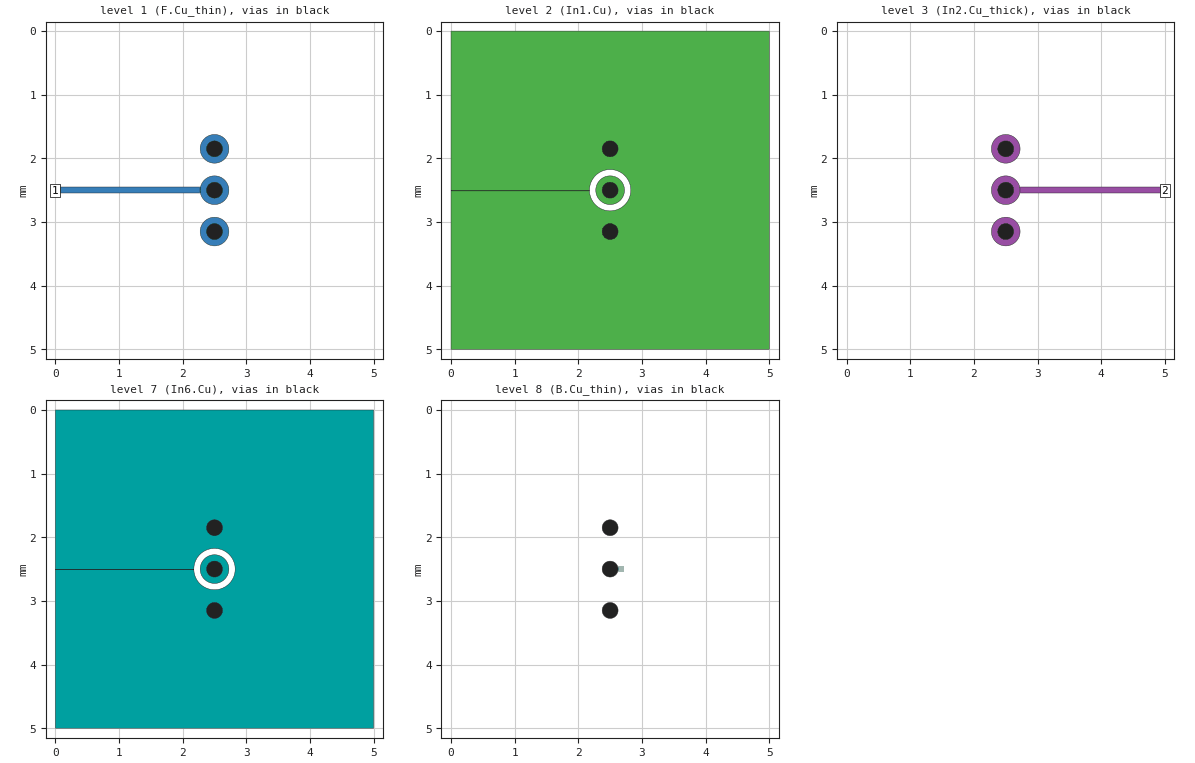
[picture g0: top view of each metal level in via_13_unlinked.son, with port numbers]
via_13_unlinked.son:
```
FTYP SONPROJ 19 ! Sonnet Project File
VER 18.52
HEADER
LIC antikernel2.1.51176
DAT 02/26/2022 12:09:59
BUILT_BY_CREATED xgeom 18.52 11/18/2021 20:28:07
BUILT_BY_SAVED sonnet 18.52
MDATE 02/26/2022 12:09:59
HDATE 02/26/2022 12:09:59
END HEADER
DIM
ANG DEG
CAP PF
CON /OH
FREQ GHZ
IND NH
LNG MM
RES OH
END DIM
CONTROL
VARSWP
OPTIONS  -dj
SPEED 0
CACHE_ABS 2
Q_ACC N
END CONTROL
GEO
SYM
DRP1 LEFT LINK
POLY 357 1
0
DRP1 RIGHT LINK
POLY 361 1
0
TMET "Free Space" 0 FREESPACE 376.7303136 0 0 0
BMET "Free Space" 0 FREESPACE 376.7303136 0 0 0
MET "Copper_1oz_thin" 1 NOR 58000000 0.5 0.035 
MET "Copper_1oz_thick" 2 TMM 58000000 0.5 0.035 2
MET "Copper_1oz_thick_down" 3 TMM 58000000 0.5 0.035 2 CDVY TDWN
MET "Copper_0.5oz_thin" 4 NOR 58000000 0.5 0.017 
MET "Copper_0.5oz_thick" 12 TMM 58000000 0.5 0.017 2
MET "Copper_0.5oz_thick_down" 5 TMM 58000000 0.5 0.017 2 CDVY TDWN
BOX 10 5 5 1000 1000 20 0
      5 1 1 0 0 0 0 "Air"
      0.04 3.5 1 0.025 0 0 0 "Soldermask"
      0.075 3.9 1 0.008 0 0 0 "TU-872_SLK"
      0.1 3.9 1 0.008 0 0 0 "TU-872_SLK"
      0.143 3.9 1 0.008 0 0 0 "TU-872_SLK"
      0.7 4.49 1 0.016 0 0 0 "Shengyi_S1000-2M"
      0.143 3.9 1 0.008 0 0 0 "TU-872_SLK"
      0.1 3.9 1 0.008 0 0 0 "TU-872_SLK"
      0.075 3.9 1 0.008 0 0 0 "TU-872_SLK"
      0.04 3.5 1 0.025 0 0 0 "Soldermask"
      5 1 1 0 0 0 0 "Air"
TECHLAY METAL F.Cu_thin <UNSPECIFIED> -1 0 CAD F.Cu_thin drawing 
1 0 0 N 410 1 1 100 100 0 0 0 Y
END
END
TECHLAY METAL F.Cu_thick <UNSPECIFIED> -2 0 CAD F.Cu_thick drawing 
1 0 1 N 413 1 1 100 100 0 0 0 Y
END
END
TECHLAY VIA Via1 <UNSPECIFIED> -13 0 CAD Via1 drawing 
VIA POLYGON
1 0 -1 N 415 1 1 100 100 0 0 0 Y
TOLEVEL 8 RING NOCOVERS
END
END
TECHLAY METAL In1.Cu <UNSPECIFIED> -3 0 CAD In1.Cu drawing 
2 0 0 N 418 1 1 100 100 0 0 0 Y
END
END
TECHLAY METAL In2.Cu_thin <UNSPECIFIED> -4 0 CAD In2.Cu drawing 
3 0 3 N 421 1 1 100 100 0 0 0 Y
END
END
TECHLAY METAL In2.Cu_thick <UNSPECIFIED> -5 0 CAD In2.Cu_thick drawing 
3 0 4 N 423 1 1 100 100 0 0 0 Y
END
END
TECHLAY METAL In3.Cu <UNSPECIFIED> -6 0 CAD In3.Cu drawing 
4 0 0 N 427 1 1 100 100 0 0 0 Y
END
END
TECHLAY METAL In4.Cu <UNSPECIFIED> -7 0 CAD In4.Cu drawing 
5 0 0 N 432 1 1 100 100 0 0 0 Y
END
END
TECHLAY METAL In5.Cu_thin <UNSPECIFIED> -8 0 CAD In5.Cu drawing 
6 0 3 N 435 1 1 100 100 0 0 0 Y
END
END
TECHLAY METAL In5.Cu_thick <UNSPECIFIED> -9 0 CAD In5.Cu_thick drawing 
6 0 5 N 437 1 1 100 100 0 0 0 Y
END
END
TECHLAY METAL In6.Cu <UNSPECIFIED> -10 0 CAD In6.Cu drawing 
7 0 0 N 440 1 1 100 100 0 0 0 Y
END
END
TECHLAY METAL B.Cu_thin <UNSPECIFIED> -11 0 CAD B.Cu_thin drawing 
8 0 0 N 443 1 1 100 100 0 0 0 Y
END
END
TECHLAY METAL B.Cu_thick <UNSPECIFIED> -12 0 CAD B.Cu_thick drawing 
8 0 2 N 445 1 1 100 100 0 0 0 Y
END
END
VALVAR CORE_ER NONE "table1(\"core_er.csv\",FREQ)" "Variable set in material file"
VALVAR CORE_DF NONE "table1(\"core_df.csv\",FREQ)" "Variable set in material file"
VALVAR PREPREG_DF NONE "table1(\"prepreg_df.csv\",FREQ)" "Variable set in material file"
VALVAR PREPREG_ER NONE "table1(\"prepreg_er.csv\",FREQ)" "Variable set in material file"
LORGN 0 5 U 
POR1 BOX
POLY 357 1
2
1 50 0 0 0 0 2.5 
POR1 BOX
POLY 361 1
2
2 50 0 0 0 5 2.5 
NUM 17
1 5 0 N 201 1 1 100 100 0 0 0 Y
TLAYNAM F.Cu_thin INH
2.275 2.45
2.36 2.45
2.36 2.55
2.275 2.55
2.275 2.45
END
1 102 0 N 237 1 1 100 100 0 0 0 Y
TLAYNAM F.Cu_thin INH
2.725 2.50707091
2.724112028 2.521184824
2.722339588 2.535215131
2.719689675 2.54910646
2.716172747 2.562803989
2.711802685 2.576253659
2.706596734 2.58940239
2.70057544 2.602198291
2.693762566 2.614590862
2.686185 2.626531196
2.677872647 2.637972168
2.668858312 2.648868627
2.65917757 2.65917757
2.648868627 2.668858312
2.637972168 2.677872647
2.626531196 2.686185
2.614590862 2.693762566
2.602198291 2.70057544
2.58940239 2.706596734
2.576253659 2.711802685
2.562803989 2.716172747
2.54910646 2.719689675
2.535215131 2.722339588
2.521184824 2.724112028
2.50707091 2.725
2.49292909 2.725
2.478815176 2.724112028
2.464784869 2.722339588
2.45089354 2.719689675
2.437196011 2.716172747
2.423746341 2.711802685
2.41059761 2.706596734
2.397801709 2.70057544
2.385409138 2.693762566
2.373468804 2.686185
2.362027832 2.677872647
2.351131373 2.668858312
2.34082243 2.65917757
2.331141688 2.648868627
2.322127353 2.637972168
2.313815 2.626531196
2.306237434 2.614590862
2.29942456 2.602198291
2.293403266 2.58940239
2.288197315 2.576253659
2.283827253 2.562803989
2.280310325 2.54910646
2.277660412 2.535215131
2.275887972 2.521184824
2.275 2.50707091
2.275 2.49292909
2.275887972 2.478815176
2.277660412 2.464784869
2.280310325 2.45089354
2.283827253 2.437196011
2.288197315 2.423746341
2.293403266 2.41059761
2.29942456 2.397801709
2.306237434 2.385409138
2.313815 2.373468804
2.322127353 2.362027832
2.331141688 2.351131373
2.34082243 2.34082243
2.351131373 2.331141688
2.362027832 2.322127353
2.373468804 2.313815
2.385409138 2.306237434
2.397801709 2.29942456
2.41059761 2.293403266
2.423746341 2.288197315
2.437196011 2.283827253
2.45089354 2.280310325
2.464784869 2.277660412
2.478815176 2.275887972
2.49292909 2.275
2.50707091 2.275
2.521184824 2.275887972
2.535215131 2.277660412
2.54910646 2.280310325
2.562803989 2.283827253
2.576253659 2.288197315
2.58940239 2.293403266
2.602198291 2.29942456
2.614590862 2.306237434
2.626531196 2.313815
2.637972168 2.322127353
2.648868627 2.331141688
2.65917757 2.34082243
2.668858312 2.351131373
2.677872647 2.362027832
2.686185 2.373468804
2.693762566 2.385409138
2.70057544 2.397801709
2.706596734 2.41059761
2.711802685 2.423746341
2.716172747 2.437196011
2.719689675 2.45089354
2.722339588 2.464784869
2.724112028 2.478815176
2.725 2.49292909
2.725 2.50707091
2.725 2.50707091
END
1 5 0 N 357 1 1 100 100 0 0 0 Y
TLAYNAM F.Cu_thin INH
2.275 2.55
2.275 2.45
0 2.45
0 2.55
2.275 2.55
END
1 102 0 N 385 1 1 100 100 0 0 0 Y
TLAYNAM F.Cu_thin INH
2.725 1.85707091
2.724112028 1.871184824
2.722339588 1.885215131
2.719689675 1.89910646
2.716172747 1.912803989
2.711802685 1.926253659
2.706596734 1.93940239
2.70057544 1.952198291
2.693762566 1.964590862
2.686185 1.976531196
2.677872647 1.987972168
2.668858312 1.998868627
2.65917757 2.00917757
2.648868627 2.018858312
2.637972168 2.027872647
2.626531196 2.036185
2.614590862 2.043762566
2.602198291 2.05057544
2.58940239 2.056596734
2.576253659 2.061802685
2.562803989 2.066172747
2.54910646 2.069689675
2.535215131 2.072339588
2.521184824 2.074112028
2.50707091 2.075
2.49292909 2.075
2.478815176 2.074112028
2.464784869 2.072339588
2.45089354 2.069689675
2.437196011 2.066172747
2.423746341 2.061802685
2.41059761 2.056596734
2.397801709 2.05057544
2.385409138 2.043762566
2.373468804 2.036185
2.362027832 2.027872647
2.351131373 2.018858312
2.34082243 2.00917757
2.331141688 1.998868627
2.322127353 1.987972168
2.313815 1.976531196
2.306237434 1.964590862
2.29942456 1.952198291
2.293403266 1.93940239
2.288197315 1.926253659
2.283827253 1.912803989
2.280310325 1.89910646
2.277660412 1.885215131
2.275887972 1.871184824
2.275 1.85707091
2.275 1.84292909
2.275887972 1.828815176
2.277660412 1.814784869
2.280310325 1.80089354
2.283827253 1.787196011
2.288197315 1.773746341
2.293403266 1.76059761
2.29942456 1.747801709
2.306237434 1.735409138
2.313815 1.723468804
2.322127353 1.712027832
2.331141688 1.701131373
2.34082243 1.69082243
2.351131373 1.681141688
2.362027832 1.672127353
2.373468804 1.663815
2.385409138 1.656237434
2.397801709 1.64942456
2.41059761 1.643403266
2.423746341 1.638197315
2.437196011 1.633827253
2.45089354 1.630310325
2.464784869 1.627660412
2.478815176 1.625887972
2.49292909 1.625
2.50707091 1.625
2.521184824 1.625887972
2.535215131 1.627660412
2.54910646 1.630310325
2.562803989 1.633827253
2.576253659 1.638197315
2.58940239 1.643403266
2.602198291 1.64942456
2.614590862 1.656237434
2.626531196 1.663815
2.637972168 1.672127353
2.648868627 1.681141688
2.65917757 1.69082243
2.668858312 1.701131373
2.677872647 1.712027832
2.686185 1.723468804
2.693762566 1.735409138
2.70057544 1.747801709
2.706596734 1.76059761
2.711802685 1.773746341
2.716172747 1.787196011
2.719689675 1.80089354
2.722339588 1.814784869
2.724112028 1.828815176
2.725 1.84292909
2.725 1.85707091
2.725 1.85707091
END
1 102 0 N 392 1 1 100 100 0 0 0 Y
TLAYNAM F.Cu_thin INH
2.725 3.142929
2.724112 3.128815
2.72234 3.114785
2.71969 3.100894
2.716173 3.087196
2.711803 3.073746
2.706597 3.060598
2.700575 3.047802
2.693763 3.035409
2.686185 3.023469
2.677873 3.012028
2.668858 3.001131
2.659178 2.990822
2.648869 2.981142
2.637972 2.972127
2.626531 2.963815
2.614591 2.956237
2.602198 2.949425
2.589402 2.943403
2.576254 2.938197
2.562804 2.933827
2.549106 2.93031
2.535215 2.92766
2.521185 2.925888
2.507071 2.925
2.492929 2.925
2.478815 2.925888
2.464785 2.92766
2.450894 2.93031
2.437196 2.933827
2.423746 2.938197
2.410598 2.943403
2.397802 2.949425
2.385409 2.956237
2.373469 2.963815
2.362028 2.972127
2.351131 2.981142
2.340822 2.990822
2.331142 3.001131
2.322127 3.012028
2.313815 3.023469
2.306237 3.035409
2.299425 3.047802
2.293403 3.060598
2.288197 3.073746
2.283827 3.087196
2.28031 3.100894
2.27766 3.114785
2.275888 3.128815
2.275 3.142929
2.275 3.157071
2.275888 3.171185
2.27766 3.185215
2.28031 3.199106
2.283827 3.212804
2.288197 3.226254
2.293403 3.239402
2.299425 3.252198
2.306237 3.264591
2.313815 3.276531
2.322127 3.287972
2.331142 3.298869
2.340822 3.309178
2.351131 3.318858
2.362028 3.327873
2.373469 3.336185
2.385409 3.343763
2.397802 3.350575
2.410598 3.356597
2.423746 3.361803
2.437196 3.366173
2.450894 3.36969
2.464785 3.37234
2.478815 3.374112
2.492929 3.375
2.507071 3.375
2.521185 3.374112
2.535215 3.37234
2.549106 3.36969
2.562804 3.366173
2.576254 3.361803
2.589402 3.356597
2.602198 3.350575
2.614591 3.343763
2.626531 3.336185
2.637972 3.327873
2.648869 3.318858
2.659178 3.309178
2.668858 3.298869
2.677873 3.287972
2.686185 3.276531
2.693763 3.264591
2.700575 3.252198
2.706597 3.239402
2.711803 3.226254
2.716173 3.212804
2.71969 3.199106
2.72234 3.185215
2.724112 3.171185
2.725 3.157071
2.725 3.142929
2.725 3.142929
END
VIA POLYGON
1 101 -1 N 239 1 1 100 100 0 0 0 Y
TOLEVEL 8 RING NOCOVERS
TLAYNAM Via1 INH
2.625 2.503928283
2.624506682 2.511769347
2.623521993 2.519563962
2.622049819 2.527281367
2.620095971 2.534891105
2.617668158 2.542363144
2.614775963 2.549667994
2.6114308 2.556776828
2.60764587 2.56366159
2.603436111 2.570295109
2.598818137 2.576651204
2.593810173 2.582704793
2.588431983 2.588431983
2.582704793 2.593810173
2.576651204 2.598818137
2.570295109 2.603436111
2.56366159 2.60764587
2.556776828 2.6114308
2.549667994 2.614775963
2.542363144 2.617668158
2.534891105 2.620095971
2.527281367 2.622049819
2.519563962 2.623521993
2.511769347 2.624506682
2.503928283 2.625
2.496071717 2.625
2.488230653 2.624506682
2.480436038 2.623521993
2.472718633 2.622049819
2.465108895 2.620095971
2.457636856 2.617668158
2.450332006 2.614775963
2.443223172 2.6114308
2.43633841 2.60764587
2.429704891 2.603436111
2.423348796 2.598818137
2.417295207 2.593810173
2.411568017 2.588431983
2.406189827 2.582704793
2.401181863 2.576651204
2.396563889 2.570295109
2.39235413 2.56366159
2.3885692 2.556776828
2.385224037 2.549667994
2.382331842 2.542363144
2.379904029 2.534891105
2.377950181 2.527281367
2.376478007 2.519563962
2.375493318 2.511769347
2.375 2.503928283
2.375 2.496071717
2.375493318 2.488230653
2.376478007 2.480436038
2.377950181 2.472718633
2.379904029 2.465108895
2.382331842 2.457636856
2.385224037 2.450332006
2.3885692 2.443223172
2.39235413 2.43633841
2.396563889 2.429704891
2.401181863 2.423348796
2.406189827 2.417295207
2.411568017 2.411568017
2.417295207 2.406189827
2.423348796 2.401181863
2.429704891 2.396563889
2.43633841 2.39235413
2.443223172 2.3885692
2.450332006 2.385224037
2.457636856 2.382331842
2.465108895 2.379904029
2.472718633 2.377950181
2.480436038 2.376478007
2.488230653 2.375493318
2.496071717 2.375
2.503928283 2.375
2.511769347 2.375493318
2.519563962 2.376478007
2.527281367 2.377950181
2.534891105 2.379904029
2.542363144 2.382331842
2.549667994 2.385224037
2.556776828 2.3885692
2.56366159 2.39235413
2.570295109 2.396563889
2.576651204 2.401181863
2.582704793 2.406189827
2.588431983 2.411568017
2.593810173 2.417295207
2.598818137 2.423348796
2.603436111 2.429704891
2.60764587 2.43633841
2.6114308 2.443223172
2.614775963 2.450332006
2.617668158 2.457636856
2.620095971 2.465108895
2.622049819 2.472718633
2.623521993 2.480436038
2.624506682 2.488230653
2.625 2.496071717
2.625 2.503928283
END
VIA POLYGON
1 101 -1 N 384 1 1 100 100 0 0 0 Y
TOLEVEL 8 RING NOCOVERS
TLAYNAM Via1 INH
2.625 1.853928
2.624507 1.861769
2.623522 1.869564
2.62205 1.877281
2.620096 1.884891
2.617668 1.892363
2.614776 1.899668
2.611431 1.906777
2.607646 1.913662
2.603436 1.920295
2.598818 1.926651
2.59381 1.932705
2.588432 1.938432
2.582705 1.94381
2.576651 1.948818
2.570295 1.953436
2.563662 1.957646
2.556777 1.961431
2.549668 1.964776
2.542363 1.967668
2.534891 1.970096
2.527281 1.97205
2.519564 1.973522
2.511769 1.974507
2.503928 1.975
2.496072 1.975
2.488231 1.974507
2.480436 1.973522
2.472719 1.97205
2.465109 1.970096
2.457637 1.967668
2.450332 1.964776
2.443223 1.961431
2.436338 1.957646
2.429705 1.953436
2.423349 1.948818
2.417295 1.94381
2.411568 1.938432
2.40619 1.932705
2.401182 1.926651
2.396564 1.920295
2.392354 1.913662
2.388569 1.906777
2.385224 1.899668
2.382332 1.892363
2.379904 1.884891
2.37795 1.877281
2.376478 1.869564
2.375493 1.861769
2.375 1.853928
2.375 1.846072
2.375493 1.838231
2.376478 1.830436
2.37795 1.822719
2.379904 1.815109
2.382332 1.807637
2.385224 1.800332
2.388569 1.793223
2.392354 1.786338
2.396564 1.779705
2.401182 1.773349
2.40619 1.767295
2.411568 1.761568
2.417295 1.75619
2.423349 1.751182
2.429705 1.746564
2.436338 1.742354
2.443223 1.738569
2.450332 1.735224
2.457637 1.732332
2.465109 1.729904
2.472719 1.72795
2.480436 1.726478
2.488231 1.725493
2.496072 1.725
2.503928 1.725
2.511769 1.725493
2.519564 1.726478
2.527281 1.72795
2.534891 1.729904
2.542363 1.732332
2.549668 1.735224
2.556777 1.738569
2.563662 1.742354
2.570295 1.746564
2.576651 1.751182
2.582705 1.75619
2.588432 1.761568
2.59381 1.767295
2.598818 1.773349
2.603436 1.779705
2.607646 1.786338
2.611431 1.793223
2.614776 1.800332
2.617668 1.807637
2.620096 1.815109
2.62205 1.822719
2.623522 1.830436
2.624507 1.838231
2.625 1.846072
2.625 1.853928
END
VIA POLYGON
1 101 -1 N 388 1 1 100 100 0 0 0 Y
TOLEVEL 8 RING NOCOVERS
TLAYNAM Via1 INH
2.625 3.146072
2.624507 3.138231
2.623522 3.130436
2.62205 3.122719
2.620096 3.115109
2.617668 3.107637
2.614776 3.100332
2.611431 3.093223
2.607646 3.086338
2.603436 3.079705
2.598818 3.073349
2.59381 3.067295
2.588432 3.061568
2.582705 3.05619
2.576651 3.051182
2.570295 3.046564
2.563662 3.042354
2.556777 3.038569
2.549668 3.035224
2.542363 3.032332
2.534891 3.029904
2.527281 3.02795
2.519564 3.026478
2.511769 3.025493
2.503928 3.025
2.496072 3.025
2.488231 3.025493
2.480436 3.026478
2.472719 3.02795
2.465109 3.029904
2.457637 3.032332
2.450332 3.035224
2.443223 3.038569
2.436338 3.042354
2.429705 3.046564
2.423349 3.051182
2.417295 3.05619
2.411568 3.061568
2.40619 3.067295
2.401182 3.073349
2.396564 3.079705
2.392354 3.086338
2.388569 3.093223
2.385224 3.100332
2.382332 3.107637
2.379904 3.115109
2.37795 3.122719
2.376478 3.130436
2.375493 3.138231
2.375 3.146072
2.375 3.153928
2.375493 3.161769
2.376478 3.169564
2.37795 3.177281
2.379904 3.184891
2.382332 3.192363
2.385224 3.199668
2.388569 3.206777
2.392354 3.213662
2.396564 3.220295
2.401182 3.226651
2.40619 3.232705
2.411568 3.238432
2.417295 3.24381
2.423349 3.248818
2.429705 3.253436
2.436338 3.257646
2.443223 3.261431
2.450332 3.264776
2.457637 3.267668
2.465109 3.270096
2.472719 3.27205
2.480436 3.273522
2.488231 3.274507
2.496072 3.275
2.503928 3.275
2.511769 3.274507
2.519564 3.273522
2.527281 3.27205
2.534891 3.270096
2.542363 3.267668
2.549668 3.264776
2.556777 3.261431
2.563662 3.257646
2.570295 3.253436
2.576651 3.248818
2.582705 3.24381
2.588432 3.238432
2.59381 3.232705
2.598818 3.226651
2.603436 3.220295
2.607646 3.213662
2.611431 3.206777
2.614776 3.199668
2.617668 3.192363
2.620096 3.184891
2.62205 3.177281
2.623522 3.169564
2.624507 3.161769
2.625 3.153928
2.625 3.146072
END
2 102 0 N 307 1 1 100 100 0 0 0 Y
TLAYNAM In1.Cu INH
2.725 2.50707091
2.724112028 2.521184824
2.722339588 2.535215131
2.719689675 2.54910646
2.716172747 2.562803989
2.711802685 2.576253659
2.706596734 2.58940239
2.70057544 2.602198291
2.693762566 2.614590862
2.686185 2.626531196
2.677872647 2.637972168
2.668858312 2.648868627
2.65917757 2.65917757
2.648868627 2.668858312
2.637972168 2.677872647
2.626531196 2.686185
2.614590862 2.693762566
2.602198291 2.70057544
2.58940239 2.706596734
2.576253659 2.711802685
2.562803989 2.716172747
2.54910646 2.719689675
2.535215131 2.722339588
2.521184824 2.724112028
2.50707091 2.725
2.49292909 2.725
2.478815176 2.724112028
2.464784869 2.722339588
2.45089354 2.719689675
2.437196011 2.716172747
2.423746341 2.711802685
2.41059761 2.706596734
2.397801709 2.70057544
2.385409138 2.693762566
2.373468804 2.686185
2.362027832 2.677872647
2.351131373 2.668858312
2.34082243 2.65917757
2.331141688 2.648868627
2.322127353 2.637972168
2.313815 2.626531196
2.306237434 2.614590862
2.29942456 2.602198291
2.293403266 2.58940239
2.288197315 2.576253659
2.283827253 2.562803989
2.280310325 2.54910646
2.277660412 2.535215131
2.275887972 2.521184824
2.275 2.50707091
2.275 2.49292909
2.275887972 2.478815176
2.277660412 2.464784869
2.280310325 2.45089354
2.283827253 2.437196011
2.288197315 2.423746341
2.293403266 2.41059761
2.29942456 2.397801709
2.306237434 2.385409138
2.313815 2.373468804
2.322127353 2.362027832
2.331141688 2.351131373
2.34082243 2.34082243
2.351131373 2.331141688
2.362027832 2.322127353
2.373468804 2.313815
2.385409138 2.306237434
2.397801709 2.29942456
2.41059761 2.293403266
2.423746341 2.288197315
2.437196011 2.283827253
2.45089354 2.280310325
2.464784869 2.277660412
2.478815176 2.275887972
2.49292909 2.275
2.50707091 2.275
2.521184824 2.275887972
2.535215131 2.277660412
2.54910646 2.280310325
2.562803989 2.283827253
2.576253659 2.288197315
2.58940239 2.293403266
2.602198291 2.29942456
2.614590862 2.306237434
2.626531196 2.313815
2.637972168 2.322127353
2.648868627 2.331141688
2.65917757 2.34082243
2.668858312 2.351131373
2.677872647 2.362027832
2.686185 2.373468804
2.693762566 2.385409138
2.70057544 2.397801709
2.706596734 2.41059761
2.711802685 2.423746341
2.716172747 2.437196011
2.719689675 2.45089354
2.722339588 2.464784869
2.724112028 2.478815176
2.725 2.49292909
2.725 2.50707091
2.725 2.50707091
END
2 108 0 N 309 1 1 100 100 0 0 0 Y
TLAYNAM In1.Cu INH
5 0
0 0
0 2.510213536
2.175 2.510213536
2.175 2.489786464
2.176282627 2.469399699
2.178842818 2.449133699
2.182670469 2.429068446
2.187750476 2.409283127
2.194062789 2.389855826
2.201582496 2.370863214
2.21027992 2.352380246
2.220120738 2.334479866
2.231066111 2.317232718
2.243072843 2.300706868
2.256093549 2.284967538
2.270076843 2.270076843
2.284967538 2.256093549
2.300706868 2.243072843
2.317232718 2.231066111
2.334479866 2.220120738
2.352380246 2.21027992
2.370863214 2.201582496
2.389855826 2.194062789
2.409283127 2.187750476
2.429068446 2.182670469
2.449133699 2.178842818
2.469399699 2.176282627
2.489786464 2.175
2.510213536 2.175
2.530600301 2.176282627
2.550866301 2.178842818
2.570931554 2.182670469
2.590716873 2.187750476
2.610144174 2.194062789
2.629136786 2.201582496
2.647619754 2.21027992
2.665520134 2.220120738
2.682767282 2.231066111
2.699293132 2.243072843
2.715032462 2.256093549
2.729923157 2.270076843
2.743906451 2.284967538
2.756927157 2.300706868
2.768933889 2.317232718
2.779879262 2.334479866
2.78972008 2.352380246
2.798417504 2.370863214
2.805937211 2.389855826
2.812249524 2.409283127
2.817329531 2.429068446
2.821157182 2.449133699
2.823717373 2.469399699
2.825 2.489786464
2.825 2.510213536
2.823717373 2.530600301
2.821157182 2.550866301
2.817329531 2.570931554
2.812249524 2.590716873
2.805937211 2.610144174
2.798417504 2.629136786
2.78972008 2.647619754
2.779879262 2.665520134
2.768933889 2.682767282
2.756927157 2.699293132
2.743906451 2.715032462
2.729923157 2.729923157
2.715032462 2.743906451
2.699293132 2.756927157
2.682767282 2.768933889
2.665520134 2.779879262
2.647619754 2.78972008
2.629136786 2.798417504
2.610144174 2.805937211
2.590716873 2.812249524
2.570931554 2.817329531
2.550866301 2.821157182
2.530600301 2.823717373
2.510213536 2.825
2.489786464 2.825
2.469399699 2.823717373
2.449133699 2.821157182
2.429068446 2.817329531
2.409283127 2.812249524
2.389855826 2.805937211
2.370863214 2.798417504
2.352380246 2.78972008
2.334479866 2.779879262
2.317232718 2.768933889
2.300706868 2.756927157
2.284967538 2.743906451
2.270076843 2.729923157
2.256093549 2.715032462
2.243072843 2.699293132
2.231066111 2.682767282
2.220120738 2.665520134
2.21027992 2.647619754
2.201582496 2.629136786
2.194062789 2.610144174
2.187750476 2.590716873
2.182670469 2.570931554
2.178842818 2.550866301
2.176282627 2.530600301
2.175 2.510213536
0 2.510213536
0 5
5 5
5 0
END
3 102 4 N 238 1 1 100 100 0 0 0 Y
TLAYNAM In2.Cu_thick INH
2.725 2.50707091
2.724112028 2.521184824
2.722339588 2.535215131
2.719689675 2.54910646
2.716172747 2.562803989
2.711802685 2.576253659
2.706596734 2.58940239
2.70057544 2.602198291
2.693762566 2.614590862
2.686185 2.626531196
2.677872647 2.637972168
2.668858312 2.648868627
2.65917757 2.65917757
2.648868627 2.668858312
2.637972168 2.677872647
2.626531196 2.686185
2.614590862 2.693762566
2.602198291 2.70057544
2.58940239 2.706596734
2.576253659 2.711802685
2.562803989 2.716172747
2.54910646 2.719689675
2.535215131 2.722339588
2.521184824 2.724112028
2.50707091 2.725
2.49292909 2.725
2.478815176 2.724112028
2.464784869 2.722339588
2.45089354 2.719689675
2.437196011 2.716172747
2.423746341 2.711802685
2.41059761 2.706596734
2.397801709 2.70057544
2.385409138 2.693762566
2.373468804 2.686185
2.362027832 2.677872647
2.351131373 2.668858312
2.34082243 2.65917757
2.331141688 2.648868627
2.322127353 2.637972168
2.313815 2.626531196
2.306237434 2.614590862
2.29942456 2.602198291
2.293403266 2.58940239
2.288197315 2.576253659
2.283827253 2.562803989
2.280310325 2.54910646
2.277660412 2.535215131
2.275887972 2.521184824
2.275 2.50707091
2.275 2.49292909
2.275887972 2.478815176
2.277660412 2.464784869
2.280310325 2.45089354
2.283827253 2.437196011
2.288197315 2.423746341
2.293403266 2.41059761
2.29942456 2.397801709
2.306237434 2.385409138
2.313815 2.373468804
2.322127353 2.362027832
2.331141688 2.351131373
2.34082243 2.34082243
2.351131373 2.331141688
2.362027832 2.322127353
2.373468804 2.313815
2.385409138 2.306237434
2.397801709 2.29942456
2.41059761 2.293403266
2.423746341 2.288197315
2.437196011 2.283827253
2.45089354 2.280310325
2.464784869 2.277660412
2.478815176 2.275887972
2.49292909 2.275
2.50707091 2.275
2.521184824 2.275887972
2.535215131 2.277660412
2.54910646 2.280310325
2.562803989 2.283827253
2.576253659 2.288197315
2.58940239 2.293403266
2.602198291 2.29942456
2.614590862 2.306237434
2.626531196 2.313815
2.637972168 2.322127353
2.648868627 2.331141688
2.65917757 2.34082243
2.668858312 2.351131373
2.677872647 2.362027832
2.686185 2.373468804
2.693762566 2.385409138
2.70057544 2.397801709
2.706596734 2.41059761
2.711802685 2.423746341
2.716172747 2.437196011
2.719689675 2.45089354
2.722339588 2.464784869
2.724112028 2.478815176
2.725 2.49292909
2.725 2.50707091
2.725 2.50707091
END
3 5 4 N 361 1 1 100 100 0 0 0 Y
TLAYNAM In2.Cu_thick INH
2.724556014 2.45
2.724556014 2.55
5 2.55
5 2.45
2.724556014 2.45
END
3 102 4 N 387 1 1 100 100 0 0 0 Y
TLAYNAM In2.Cu_thick INH
2.725 3.142929
2.724112 3.128815
2.72234 3.114785
2.71969 3.100894
2.716173 3.087196
2.711803 3.073746
2.706597 3.060598
2.700575 3.047802
2.693763 3.035409
2.686185 3.023469
2.677873 3.012028
2.668858 3.001131
2.659178 2.990822
2.648869 2.981142
2.637972 2.972127
2.626531 2.963815
2.614591 2.956237
2.602198 2.949425
2.589402 2.943403
2.576254 2.938197
2.562804 2.933827
2.549106 2.93031
2.535215 2.92766
2.521185 2.925888
2.507071 2.925
2.492929 2.925
2.478815 2.925888
2.464785 2.92766
2.450894 2.93031
2.437196 2.933827
2.423746 2.938197
2.410598 2.943403
2.397802 2.949425
2.385409 2.956237
2.373469 2.963815
2.362028 2.972127
2.351131 2.981142
2.340822 2.990822
2.331142 3.001131
2.322127 3.012028
2.313815 3.023469
2.306237 3.035409
2.299425 3.047802
2.293403 3.060598
2.288197 3.073746
2.283827 3.087196
2.28031 3.100894
2.27766 3.114785
2.275888 3.128815
2.275 3.142929
2.275 3.157071
2.275888 3.171185
2.27766 3.185215
2.28031 3.199106
2.283827 3.212804
2.288197 3.226254
2.293403 3.239402
2.299425 3.252198
2.306237 3.264591
2.313815 3.276531
2.322127 3.287972
2.331142 3.298869
2.340822 3.309178
2.351131 3.318858
2.362028 3.327873
2.373469 3.336185
2.385409 3.343763
2.397802 3.350575
2.410598 3.356597
2.423746 3.361803
2.437196 3.366173
2.450894 3.36969
2.464785 3.37234
2.478815 3.374112
2.492929 3.375
2.507071 3.375
2.521185 3.374112
2.535215 3.37234
2.549106 3.36969
2.562804 3.366173
2.576254 3.361803
2.589402 3.356597
2.602198 3.350575
2.614591 3.343763
2.626531 3.336185
2.637972 3.327873
2.648869 3.318858
2.659178 3.309178
2.668858 3.298869
2.677873 3.287972
2.686185 3.276531
2.693763 3.264591
2.700575 3.252198
2.706597 3.239402
2.711803 3.226254
2.716173 3.212804
2.71969 3.199106
2.72234 3.185215
2.724112 3.171185
2.725 3.157071
2.725 3.142929
2.725 3.142929
END
3 102 4 N 386 1 1 100 100 0 0 0 Y
TLAYNAM In2.Cu_thick INH
2.725 1.85707091
2.724112028 1.871184824
2.722339588 1.885215131
2.719689675 1.89910646
2.716172747 1.912803989
2.711802685 1.926253659
2.706596734 1.93940239
2.70057544 1.952198291
2.693762566 1.964590862
2.686185 1.976531196
2.677872647 1.987972168
2.668858312 1.998868627
2.65917757 2.00917757
2.648868627 2.018858312
2.637972168 2.027872647
2.626531196 2.036185
2.614590862 2.043762566
2.602198291 2.05057544
2.58940239 2.056596734
2.576253659 2.061802685
2.562803989 2.066172747
2.54910646 2.069689675
2.535215131 2.072339588
2.521184824 2.074112028
2.50707091 2.075
2.49292909 2.075
2.478815176 2.074112028
2.464784869 2.072339588
2.45089354 2.069689675
2.437196011 2.066172747
2.423746341 2.061802685
2.41059761 2.056596734
2.397801709 2.05057544
2.385409138 2.043762566
2.373468804 2.036185
2.362027832 2.027872647
2.351131373 2.018858312
2.34082243 2.00917757
2.331141688 1.998868627
2.322127353 1.987972168
2.313815 1.976531196
2.306237434 1.964590862
2.29942456 1.952198291
2.293403266 1.93940239
2.288197315 1.926253659
2.283827253 1.912803989
2.280310325 1.89910646
2.277660412 1.885215131
2.275887972 1.871184824
2.275 1.85707091
2.275 1.84292909
2.275887972 1.828815176
2.277660412 1.814784869
2.280310325 1.80089354
2.283827253 1.787196011
2.288197315 1.773746341
2.293403266 1.76059761
2.29942456 1.747801709
2.306237434 1.735409138
2.313815 1.723468804
2.322127353 1.712027832
2.331141688 1.701131373
2.34082243 1.69082243
2.351131373 1.681141688
2.362027832 1.672127353
2.373468804 1.663815
2.385409138 1.656237434
2.397801709 1.64942456
2.41059761 1.643403266
2.423746341 1.638197315
2.437196011 1.633827253
2.45089354 1.630310325
2.464784869 1.627660412
2.478815176 1.625887972
2.49292909 1.625
2.50707091 1.625
2.521184824 1.625887972
2.535215131 1.627660412
2.54910646 1.630310325
2.562803989 1.633827253
2.576253659 1.638197315
2.58940239 1.643403266
2.602198291 1.64942456
2.614590862 1.656237434
2.626531196 1.663815
2.637972168 1.672127353
2.648868627 1.681141688
2.65917757 1.69082243
2.668858312 1.701131373
2.677872647 1.712027832
2.686185 1.723468804
2.693762566 1.735409138
2.70057544 1.747801709
2.706596734 1.76059761
2.711802685 1.773746341
2.716172747 1.787196011
2.719689675 1.80089354
2.722339588 1.814784869
2.724112028 1.828815176
2.725 1.84292909
2.725 1.85707091
2.725 1.85707091
END
7 108 0 N 305 1 1 100 100 0 0 0 Y
TLAYNAM In6.Cu INH
5 0
0 0
0 2.510213536
2.175 2.510213536
2.175 2.489786464
2.176282627 2.469399699
2.178842818 2.449133699
2.182670469 2.429068446
2.187750476 2.409283127
2.194062789 2.389855826
2.201582496 2.370863214
2.21027992 2.352380246
2.220120738 2.334479866
2.231066111 2.317232718
2.243072843 2.300706868
2.256093549 2.284967538
2.270076843 2.270076843
2.284967538 2.256093549
2.300706868 2.243072843
2.317232718 2.231066111
2.334479866 2.220120738
2.352380246 2.21027992
2.370863214 2.201582496
2.389855826 2.194062789
2.409283127 2.187750476
2.429068446 2.182670469
2.449133699 2.178842818
2.469399699 2.176282627
2.489786464 2.175
2.510213536 2.175
2.530600301 2.176282627
2.550866301 2.178842818
2.570931554 2.182670469
2.590716873 2.187750476
2.610144174 2.194062789
2.629136786 2.201582496
2.647619754 2.21027992
2.665520134 2.220120738
2.682767282 2.231066111
2.699293132 2.243072843
2.715032462 2.256093549
2.729923157 2.270076843
2.743906451 2.284967538
2.756927157 2.300706868
2.768933889 2.317232718
2.779879262 2.334479866
2.78972008 2.352380246
2.798417504 2.370863214
2.805937211 2.389855826
2.812249524 2.409283127
2.817329531 2.429068446
2.821157182 2.449133699
2.823717373 2.469399699
2.825 2.489786464
2.825 2.510213536
2.823717373 2.530600301
2.821157182 2.550866301
2.817329531 2.570931554
2.812249524 2.590716873
2.805937211 2.610144174
2.798417504 2.629136786
2.78972008 2.647619754
2.779879262 2.665520134
2.768933889 2.682767282
2.756927157 2.699293132
2.743906451 2.715032462
2.729923157 2.729923157
2.715032462 2.743906451
2.699293132 2.756927157
2.682767282 2.768933889
2.665520134 2.779879262
2.647619754 2.78972008
2.629136786 2.798417504
2.610144174 2.805937211
2.590716873 2.812249524
2.570931554 2.817329531
2.550866301 2.821157182
2.530600301 2.823717373
2.510213536 2.825
2.489786464 2.825
2.469399699 2.823717373
2.449133699 2.821157182
2.429068446 2.817329531
2.409283127 2.812249524
2.389855826 2.805937211
2.370863214 2.798417504
2.352380246 2.78972008
2.334479866 2.779879262
2.317232718 2.768933889
2.300706868 2.756927157
2.284967538 2.743906451
2.270076843 2.729923157
2.256093549 2.715032462
2.243072843 2.699293132
2.231066111 2.682767282
2.220120738 2.665520134
2.21027992 2.647619754
2.201582496 2.629136786
2.194062789 2.610144174
2.187750476 2.590716873
2.182670469 2.570931554
2.178842818 2.550866301
2.176282627 2.530600301
2.175 2.510213536
0 2.510213536
0 5
5 5
5 0
END
7 102 0 N 306 1 1 100 100 0 0 0 Y
TLAYNAM In6.Cu INH
2.725 2.50707091
2.724112028 2.521184824
2.722339588 2.535215131
2.719689675 2.54910646
2.716172747 2.562803989
2.711802685 2.576253659
2.706596734 2.58940239
2.70057544 2.602198291
2.693762566 2.614590862
2.686185 2.626531196
2.677872647 2.637972168
2.668858312 2.648868627
2.65917757 2.65917757
2.648868627 2.668858312
2.637972168 2.677872647
2.626531196 2.686185
2.614590862 2.693762566
2.602198291 2.70057544
2.58940239 2.706596734
2.576253659 2.711802685
2.562803989 2.716172747
2.54910646 2.719689675
2.535215131 2.722339588
2.521184824 2.724112028
2.50707091 2.725
2.49292909 2.725
2.478815176 2.724112028
2.464784869 2.722339588
2.45089354 2.719689675
2.437196011 2.716172747
2.423746341 2.711802685
2.41059761 2.706596734
2.397801709 2.70057544
2.385409138 2.693762566
2.373468804 2.686185
2.362027832 2.677872647
2.351131373 2.668858312
2.34082243 2.65917757
2.331141688 2.648868627
2.322127353 2.637972168
2.313815 2.626531196
2.306237434 2.614590862
2.29942456 2.602198291
2.293403266 2.58940239
2.288197315 2.576253659
2.283827253 2.562803989
2.280310325 2.54910646
2.277660412 2.535215131
2.275887972 2.521184824
2.275 2.50707091
2.275 2.49292909
2.275887972 2.478815176
2.277660412 2.464784869
2.280310325 2.45089354
2.283827253 2.437196011
2.288197315 2.423746341
2.293403266 2.41059761
2.29942456 2.397801709
2.306237434 2.385409138
2.313815 2.373468804
2.322127353 2.362027832
2.331141688 2.351131373
2.34082243 2.34082243
2.351131373 2.331141688
2.362027832 2.322127353
2.373468804 2.313815
2.385409138 2.306237434
2.397801709 2.29942456
2.41059761 2.293403266
2.423746341 2.288197315
2.437196011 2.283827253
2.45089354 2.280310325
2.464784869 2.277660412
2.478815176 2.275887972
2.49292909 2.275
2.50707091 2.275
2.521184824 2.275887972
2.535215131 2.277660412
2.54910646 2.280310325
2.562803989 2.283827253
2.576253659 2.288197315
2.58940239 2.293403266
2.602198291 2.29942456
2.614590862 2.306237434
2.626531196 2.313815
2.637972168 2.322127353
2.648868627 2.331141688
2.65917757 2.34082243
2.668858312 2.351131373
2.677872647 2.362027832
2.686185 2.373468804
2.693762566 2.385409138
2.70057544 2.397801709
2.706596734 2.41059761
2.711802685 2.423746341
2.716172747 2.437196011
2.719689675 2.45089354
2.722339588 2.464784869
2.724112028 2.478815176
2.725 2.49292909
2.725 2.50707091
2.725 2.50707091
END
8 5 0 N 206 1 1 100 100 0 0 0 Y
TLAYNAM B.Cu_thin INH
2.625 2.45
2.724556014 2.45
2.724556014 2.55
2.625 2.55
2.625 2.45
END
END GEO
OPT
MAX 100
END OPT
VARSWP
ENABLED Y
FREQ Y AY ABS_ENTRY 0.001 16.0 -1 300 
END
END VARSWP
```
